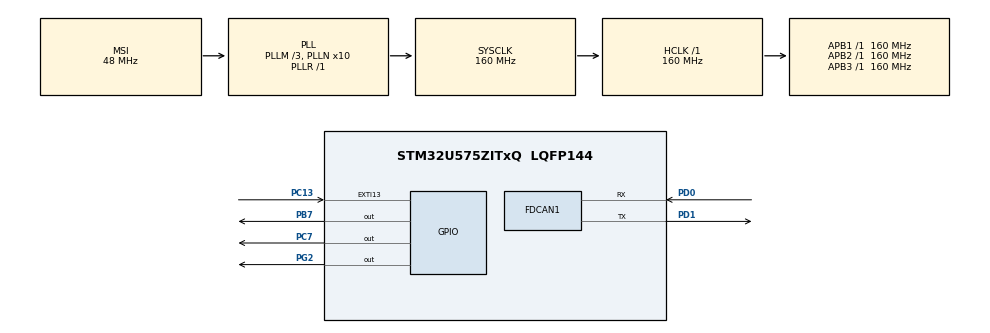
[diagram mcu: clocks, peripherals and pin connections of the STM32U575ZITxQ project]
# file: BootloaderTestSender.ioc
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CORTEX_M33_NS.userName=CORTEX_M33
FDCAN1.AutoRetransmission=ENABLE
FDCAN1.CalculateBaudRateNominal=500000
FDCAN1.CalculateTimeBitNominal=2000
FDCAN1.CalculateTimeQuantumNominal=100.0
FDCAN1.DataPrescaler=1
FDCAN1.DataSyncJumpWidth=16
FDCAN1.DataTimeSeg1=23
FDCAN1.DataTimeSeg2=16
FDCAN1.ExtFiltersNbr=1
FDCAN1.FrameFormat=FDCAN_FRAME_FD_BRS
FDCAN1.NominalPrescaler=4
FDCAN1.NominalSyncJumpWidth=3
FDCAN1.NominalTimeSeg1=16
FDCAN1.NominalTimeSeg2=3
FDCAN1.StdFiltersNbr=1
Mcu.Family=STM32U5
Mcu.Name=STM32U575ZITxQ
Mcu.Package=LQFP144
NUCLEO-U575ZI-Q.BUTTON=1
NUCLEO-U575ZI-Q.Bsp_Common_DEMO=true
NUCLEO-U575ZI-Q.LD1=true
NUCLEO-U575ZI-Q.LD2=true
NUCLEO-U575ZI-Q.LD3=true
NUCLEO-U575ZI-Q.VCP=true
NVIC.EXTI13_IRQn=true\:0\:0\:false\:false\:true\:false\:true\:true
NVIC.FDCAN1_IT0_IRQn=true\:0\:0\:false\:false\:true\:true\:true\:true
NVIC.PriorityGroup=NVIC_PRIORITYGROUP_3
NVIC.TIM17_IRQn=true\:7\:0\:false\:false\:true\:false\:true\:true
NVIC.TimeBase=TIM17_IRQn
NVIC.TimeBaseIP=TIM17
PA10.Signal=USART1_RX
PA13\ (JTMS/SWDIO).Signal=DEBUG_JTMS-SWDIO
PA14\ (JTCK/SWCLK).Signal=DEBUG_JTCK-SWCLK
PA9.Signal=USART1_TX
PB3\ (JTDO/TRACESWO).Signal=DEBUG_JTDO-SWO
PB7.Signal=GPIO_Output
PC13.Signal=GPXTI13
PC14-OSC32_IN\ (PC14).Signal=RCC_OSC32_IN
PC15-OSC32_OUT\ (PC15).Signal=RCC_OSC32_OUT
PC7.Signal=GPIO_Output
PD0.Mode=FDCAN_Activate
PD0.Signal=FDCAN1_RX
PD1.Mode=FDCAN_Activate
PD1.Signal=FDCAN1_TX
PG2.Signal=GPIO_Output
PWR.PowerMode=PWR_SMPS_SUPPLY
ProjectManager.HeapSize=0x200
ProjectManager.StackSize=0x400
ProjectManager.TargetToolchain=STM32CubeIDE
RCC.ADCFreq_Value=16000000
RCC.AHBFreq_Value=160000000
RCC.APB1Freq_Value=160000000
RCC.APB1TimFreq_Value=160000000
RCC.APB2Freq_Value=160000000
RCC.APB2TimFreq_Value=160000000
RCC.APB3Freq_Value=160000000
RCC.CortexFreq_Value=160000000
RCC.DACCLockSelectionVirtual=RCC_DAC1CLKSOURCE_LSI
RCC.EPOD_VALUE=48000000
RCC.HCLKFreq_Value=160000000
RCC.HSE_VALUE=16000000
RCC.HSI48_VALUE=48000000
RCC.HSI_VALUE=16000000
RCC.LSE_VALUE=32768
RCC.LSIDIV_VALUE=32000
RCC.MSIClockRange=RCC_MSIRANGE_0
RCC.MSI_VALUE=48000000
RCC.PLL1Q=4
RCC.PLL1R=1
RCC.PLL2FRACN=0
RCC.PLL3FRACN=0
RCC.PLLFRACN=0
RCC.PLLM=3
RCC.PLLN=10
RCC.SYSCLKFreq_VALUE=160000000
RCC.SYSCLKSource=RCC_SYSCLKSOURCE_PLLCLK
RCC.USBFreq_Value=48000000
RCC.VCOOutputFreq_Value=160000000
VP_ICACHE_VS_ENABLE_ICACHE_MEMORY.Mode=Memoryregions
VP_ICACHE_VS_ICACHE.Mode=DirectMappedCache
VP_LPBAMQUEUE_VS_QUEUE.Mode=QUEUEMODE
VP_LPBAM_VS_SIG1.Mode=SmartRun
VP_LPBAM_VS_SIG4.Mode=LPDMA1
VP_MEMORYMAP_VS_MEMORYMAP.Mode=CurAppReg
VP_NUCLEO-U575ZI-Q_VS_BSP_COMMON.Mode=COMMON
VP_PWR_VS_DBSignals.Mode=DisableDeadBatterySignals
VP_PWR_VS_LPOM.Mode=PowerOptimisation
VP_PWR_VS_SECSignals.Mode=Security/Privilege
VP_SYS_VS_tim17.Mode=TIM17
board=NUCLEO-U575ZI-Q

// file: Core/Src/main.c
/* USER CODE BEGIN Header */
/**
  ******************************************************************************
  * @file           : main.c
  * @brief          : Main program body
  ******************************************************************************
  * @attention
  *
  * Copyright (c) 2025 STMicroelectronics.
  * All rights reserved.
  *
  * This software is licensed under terms that can be found in the LICENSE file
  * in the root directory of this software component.
  * If no LICENSE file comes with this software, it is provided AS-IS.
  *
  ******************************************************************************
  */
/* USER CODE END Header */
#include "main.h"

/* USER CODE BEGIN Includes */
#include "can.h"
#include "data.h"
#include <string.h>
/* USER CODE END Includes */

COM_InitTypeDef BspCOMInit;
__IO uint32_t BspButtonState = BUTTON_RELEASED;

FDCAN_HandleTypeDef hfdcan1;

/* USER CODE BEGIN PV */
uint32_t FILTER_ID1 = 0x208;
uint32_t FILTER_ID2 = 0x20a;
/* USER CODE END PV */

void SystemClock_Config(void);
static void SystemPower_Config(void);
static void MX_GPIO_Init(void);
static void MX_ICACHE_Init(void);
static void MX_FDCAN1_Init(void);
/* USER CODE BEGIN PFP */
uint32_t crc32(uint8_t *data, size_t len);
/* USER CODE END PFP */

int main(void)
{

  /* MCU Configuration--------------------------------------------------------*/

  /* Reset of all peripherals, Initializes the Flash interface and the Systick. */
  HAL_Init();

  /* Configure the System Power */
  SystemPower_Config();

  /* Configure the system clock */
  SystemClock_Config();

  /* Initialize all configured peripherals */
  MX_GPIO_Init();
  MX_ICACHE_Init();
  MX_FDCAN1_Init();
  /* USER CODE BEGIN 2 */
  CAN_Init(&hfdcan1);
  CAN_SetRxBufferSize(64,64);
  /* USER CODE END 2 */

  /* Initialize leds */
  BSP_LED_Init(LED_GREEN);
  BSP_LED_Init(LED_BLUE);
  BSP_LED_Init(LED_RED);

  /* Initialize USER push-button, will be used to trigger an interrupt each time it's pressed.*/
  BSP_PB_Init(BUTTON_USER, BUTTON_MODE_EXTI);

  /* Initialize COM1 port (115200, 8 bits (7-bit data + 1 stop bit), no parity */
  BspCOMInit.BaudRate   = 115200;
  BspCOMInit.WordLength = COM_WORDLENGTH_8B;
  BspCOMInit.StopBits   = COM_STOPBITS_1;
  BspCOMInit.Parity     = COM_PARITY_NONE;
  BspCOMInit.HwFlowCtl  = COM_HWCONTROL_NONE;
  if (BSP_COM_Init(COM1, &BspCOMInit) != BSP_ERROR_NONE)
  {
    Error_Handler();
  }

  /* USER CODE BEGIN BSP */

  /* -- Sample board code to send message over COM1 port ---- */
  printf("Bootloader Test Sender\n\r");

  /* -- Sample board code to switch on leds ---- */
//  BSP_LED_On(LED_GREEN);
//  BSP_LED_On(LED_BLUE);
//  BSP_LED_On(LED_RED);

  /* USER CODE END BSP */

  /* Infinite loop */
  /* USER CODE BEGIN WHILE */
  //Send Data
  	int offset = 0;
  	uint8_t TxData1[64];
  	uint8_t CRCData[4];
  	uint32_t crc = crc32(data, data_len);
  	memcpy(CRCData, &crc, 4);

  	printf("Data Length: %u\n\r", data_len);
  	printf("CRC: %lu\n\r", crc);
  	while (offset < data_len) {
  	   uint32_t chunk_size = (data_len - offset >= 64) ? 64 : (data_len - offset);

  	   memset(TxData1, 0xFF, 64);
  	   memcpy(TxData1, &data[offset], chunk_size);

  	   if(CAN_Transmit(FILTER_ID1, FDCAN_STANDARD_ID, FDCAN_DLC_BYTES_64, TxData1,&hfdcan1) != HAL_OK){
  		  BSP_LED_On(LED_RED);
  		  Error_Handler();
  	   }
  	   BSP_LED_Toggle(LED_GREEN);
  	   offset += chunk_size;
  	   HAL_Delay(50);
  	}
  	//Send CRC

  	if(CAN_Transmit(FILTER_ID1, FDCAN_STANDARD_ID, FDCAN_DLC_BYTES_4, CRCData, &hfdcan1) != HAL_OK) {
  		BSP_LED_On(LED_BLUE);
  		Error_Handler();
  	}
    HAL_Delay(50);
  	CAN_Transmit(FILTER_ID1, FDCAN_STANDARD_ID, FDCAN_DLC_BYTES_4, CRCData, &hfdcan1);
    HAL_Delay(50);
  	CAN_Transmit(FILTER_ID1, FDCAN_STANDARD_ID, FDCAN_DLC_BYTES_4, CRCData, &hfdcan1);
  	BSP_LED_On(LED_GREEN);

  while (1)
  {

    /* -- Sample board code for User push-button in interrupt mode ---- */
    if (BspButtonState == BUTTON_PRESSED)
    {
      /* Update button state */
      BspButtonState = BUTTON_RELEASED;
      /* -- Sample board code to toggle leds ---- */
      BSP_LED_Toggle(LED_GREEN);
      BSP_LED_Toggle(LED_BLUE);
      BSP_LED_Toggle(LED_RED);

      /* ..... Perform your action ..... */
    }
    /* USER CODE END WHILE */

  }
}

void SystemClock_Config(void)
{
  RCC_OscInitTypeDef RCC_OscInitStruct = {0};
  RCC_ClkInitTypeDef RCC_ClkInitStruct = {0};

  /** Configure the main internal regulator output voltage
  */
  if (HAL_PWREx_ControlVoltageScaling(PWR_REGULATOR_VOLTAGE_SCALE1) != HAL_OK)
  {
    Error_Handler();
  }

  /** Initializes the CPU, AHB and APB buses clocks
  */
  RCC_OscInitStruct.OscillatorType = RCC_OSCILLATORTYPE_MSI;
  RCC_OscInitStruct.MSIState = RCC_MSI_ON;
  RCC_OscInitStruct.MSICalibrationValue = RCC_MSICALIBRATION_DEFAULT;
  RCC_OscInitStruct.MSIClockRange = RCC_MSIRANGE_0;
  RCC_OscInitStruct.PLL.PLLState = RCC_PLL_ON;
  RCC_OscInitStruct.PLL.PLLSource = RCC_PLLSOURCE_MSI;
  RCC_OscInitStruct.PLL.PLLMBOOST = RCC_PLLMBOOST_DIV4;
  RCC_OscInitStruct.PLL.PLLM = 3;
  RCC_OscInitStruct.PLL.PLLN = 10;
  RCC_OscInitStruct.PLL.PLLP = 2;
  RCC_OscInitStruct.PLL.PLLQ = 4;
  RCC_OscInitStruct.PLL.PLLR = 1;
  RCC_OscInitStruct.PLL.PLLRGE = RCC_PLLVCIRANGE_1;
  RCC_OscInitStruct.PLL.PLLFRACN = 0;
  if (HAL_RCC_OscConfig(&RCC_OscInitStruct) != HAL_OK)
  {
    Error_Handler();
  }

  /** Initializes the CPU, AHB and APB buses clocks
  */
  RCC_ClkInitStruct.ClockType = RCC_CLOCKTYPE_HCLK|RCC_CLOCKTYPE_SYSCLK
                              |RCC_CLOCKTYPE_PCLK1|RCC_CLOCKTYPE_PCLK2
                              |RCC_CLOCKTYPE_PCLK3;
  RCC_ClkInitStruct.SYSCLKSource = RCC_SYSCLKSOURCE_PLLCLK;
  RCC_ClkInitStruct.AHBCLKDivider = RCC_SYSCLK_DIV1;
  RCC_ClkInitStruct.APB1CLKDivider = RCC_HCLK_DIV1;
  RCC_ClkInitStruct.APB2CLKDivider = RCC_HCLK_DIV1;
  RCC_ClkInitStruct.APB3CLKDivider = RCC_HCLK_DIV1;

  if (HAL_RCC_ClockConfig(&RCC_ClkInitStruct, FLASH_LATENCY_4) != HAL_OK)
  {
    Error_Handler();
  }
}

/**
  * @brief Power Configuration
  * @retval None
  */
static void SystemPower_Config(void)
{

  /*
   * Disable the internal Pull-Up in Dead Battery pins of UCPD peripheral
   */
  HAL_PWREx_DisableUCPDDeadBattery();

  /*
   * Switch to SMPS regulator instead of LDO
   */
  if (HAL_PWREx_ConfigSupply(PWR_SMPS_SUPPLY) != HAL_OK)
  {
    Error_Handler();
  }
}

static void MX_FDCAN1_Init(void)
{

  hfdcan1.Instance = FDCAN1;
  hfdcan1.Init.ClockDivider = FDCAN_CLOCK_DIV1;
  hfdcan1.Init.FrameFormat = FDCAN_FRAME_FD_BRS;
  hfdcan1.Init.Mode = FDCAN_MODE_NORMAL;
  hfdcan1.Init.AutoRetransmission = ENABLE;
  hfdcan1.Init.TransmitPause = DISABLE;
  hfdcan1.Init.ProtocolException = DISABLE;
  hfdcan1.Init.NominalPrescaler = 4;
  hfdcan1.Init.NominalSyncJumpWidth = 3;
  hfdcan1.Init.NominalTimeSeg1 = 16;
  hfdcan1.Init.NominalTimeSeg2 = 3;
  hfdcan1.Init.DataPrescaler = 1;
  hfdcan1.Init.DataSyncJumpWidth = 16;
  hfdcan1.Init.DataTimeSeg1 = 23;
  hfdcan1.Init.DataTimeSeg2 = 16;
  hfdcan1.Init.StdFiltersNbr = 1;
  hfdcan1.Init.ExtFiltersNbr = 1;
  hfdcan1.Init.TxFifoQueueMode = FDCAN_TX_FIFO_OPERATION;
  if (HAL_FDCAN_Init(&hfdcan1) != HAL_OK)
  {
    Error_Handler();
  }

}

static void MX_ICACHE_Init(void)
{

  /** Enable instruction cache in 1-way (direct mapped cache)
  */
  if (HAL_ICACHE_ConfigAssociativityMode(ICACHE_1WAY) != HAL_OK)
  {
    Error_Handler();
  }
  if (HAL_ICACHE_Enable() != HAL_OK)
  {
    Error_Handler();
  }

}

static void MX_GPIO_Init(void)
{

  /* GPIO Ports Clock Enable */
  __HAL_RCC_GPIOC_CLK_ENABLE();
  __HAL_RCC_GPIOA_CLK_ENABLE();
  __HAL_RCC_GPIOD_CLK_ENABLE();
  __HAL_RCC_GPIOB_CLK_ENABLE();

}

/* USER CODE BEGIN 4 */
uint32_t crc32(uint8_t *data, size_t len) {
    uint32_t crc = 0xFFFFFFFF;

    // Calculate number of bytes to pad so total length is a multiple of 64
    size_t padded_len = len;
    size_t rem = len % 64;
    if (rem != 0) {
        padded_len += (64 - rem);
    }

    for (size_t i = 0; i < padded_len; i++) {
        uint8_t byte;
        if (i < len) {
            byte = data[i];
        } else {
            byte = 0xFF;  // Pad byte
        }

        crc ^= byte;
        for (uint8_t j = 0; j < 8; j++) {
            crc = (crc >> 1) ^ (0xEDB88320 & -(crc & 1));
        }
    }
    printf("Padded Length: %u \n\r", padded_len);
    return ~crc;
}
/* USER CODE END 4 */

void HAL_TIM_PeriodElapsedCallback(TIM_HandleTypeDef *htim)
{
  if (htim->Instance == TIM17) {
    HAL_IncTick();
  }
}

/**
  * @brief BSP Push Button callback
  * @param Button Specifies the pressed button
  * @retval None
  */
void BSP_PB_Callback(Button_TypeDef Button)
{
  if (Button == BUTTON_USER)
  {
    BspButtonState = BUTTON_PRESSED;
  }
}

void Error_Handler(void)
{
  __disable_irq();
  while (1)
  {
  }
}
